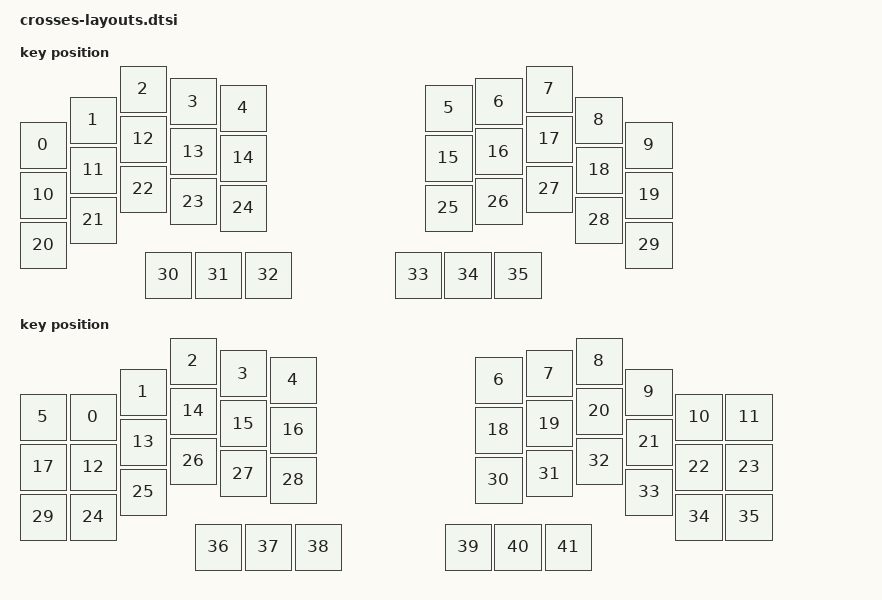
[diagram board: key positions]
#include <physical_layouts.dtsi>

/ {
    physical_layout0: physical_layout_0 {
        compatible = "zmk,physical-layout";
        display-name = "LAYOUT_default";

        kscan = <&kscan0>;
        transform = <&matrix_transform0>;

        keys  //                     w   h    x    y     rot    rx    ry
            = <&key_physical_attrs 100 100    0  112       0     0     0>
            , <&key_physical_attrs 100 100  100   62       0     0     0>
            , <&key_physical_attrs 100 100  200    0       0     0     0>
            , <&key_physical_attrs 100 100  300   25       0     0     0>
            , <&key_physical_attrs 100 100  400   38       0     0     0>
            , <&key_physical_attrs 100 100  812   38       0     0     0>
            , <&key_physical_attrs 100 100  912   25       0     0     0>
            , <&key_physical_attrs 100 100 1012    0       0     0     0>
            , <&key_physical_attrs 100 100 1112   62       0     0     0>
            , <&key_physical_attrs 100 100 1212  112       0     0     0>
            , <&key_physical_attrs 100 100    0  212       0     0     0>
            , <&key_physical_attrs 100 100  100  162       0     0     0>
            , <&key_physical_attrs 100 100  200  100       0     0     0>
            , <&key_physical_attrs 100 100  300  125       0     0     0>
            , <&key_physical_attrs 100 100  400  138       0     0     0>
            , <&key_physical_attrs 100 100  812  138       0     0     0>
            , <&key_physical_attrs 100 100  912  125       0     0     0>
            , <&key_physical_attrs 100 100 1012  100       0     0     0>
            , <&key_physical_attrs 100 100 1113  162       0     0     0>
            , <&key_physical_attrs 100 100 1212  212       0     0     0>
            , <&key_physical_attrs 100 100    0  312       0     0     0>
            , <&key_physical_attrs 100 100  100  262       0     0     0>
            , <&key_physical_attrs 100 100  200  200       0     0     0>
            , <&key_physical_attrs 100 100  300  225       0     0     0>
            , <&key_physical_attrs 100 100  400  238       0     0     0>
            , <&key_physical_attrs 100 100  812  238       0     0     0>
            , <&key_physical_attrs 100 100  912  225       0     0     0>
            , <&key_physical_attrs 100 100 1012  200       0     0     0>
            , <&key_physical_attrs 100 100 1112  262       0     0     0>
            , <&key_physical_attrs 100 100 1212  312       0     0     0>
            , <&key_physical_attrs 100 100  250  372       0     0     0>
            , <&key_physical_attrs 100 100  350  372       0     0     0>
            , <&key_physical_attrs 100 100  450  372       0     0     0>
            , <&key_physical_attrs 100 100  750  372       0     0     0>
            , <&key_physical_attrs 100 100  850  372       0     0     0>
            , <&key_physical_attrs 100 100  950  372       0     0     0>
            ;
    };

    /* 12-column alt physical layout */
    physical_layout6: physical_layout_6 {
        compatible = "zmk,physical-layout";
        display-name = "LAYOUT_3x6_wide";
        keys  //                     w   h     x     y     rot    rx    ry
            = <&key_physical_attrs 100 100     0   112       0     0     0>   // Row 0 L col0
            , <&key_physical_attrs 100 100   100    62       0     0     0>   // Row 0 L col1
            , <&key_physical_attrs 100 100   200     0       0     0     0>   // Row 0 L col2
            , <&key_physical_attrs 100 100   300    25       0     0     0>   // Row 0 L col3
            , <&key_physical_attrs 100 100   400    38       0     0     0>   // Row 0 L col4
            , <&key_physical_attrs 100 100 (-100)  112       0     0     0>   // Row 0 L col5 (new)
            , <&key_physical_attrs 100 100   812    38       0     0     0>   // Row 0 R col6
            , <&key_physical_attrs 100 100   912    25       0     0     0>   // Row 0 R col7
            , <&key_physical_attrs 100 100  1012     0       0     0     0>   // Row 0 R col8
            , <&key_physical_attrs 100 100  1112    62       0     0     0>   // Row 0 R col9
            , <&key_physical_attrs 100 100  1212   112       0     0     0>   // Row 0 R col10
            , <&key_physical_attrs 100 100  1312   112       0     0     0>   // Row 0 R col11 (new)

            , <&key_physical_attrs 100 100     0   212       0     0     0>   // Row 1 L col0
            , <&key_physical_attrs 100 100   100   162       0     0     0>   // Row 1 L col1
            , <&key_physical_attrs 100 100   200   100       0     0     0>   // Row 1 L col2
            , <&key_physical_attrs 100 100   300   125       0     0     0>   // Row 1 L col3
            , <&key_physical_attrs 100 100   400   138       0     0     0>   // Row 1 L col4
            , <&key_physical_attrs 100 100 (-100)  212       0     0     0>   // Row 1 L col5 (new)
            , <&key_physical_attrs 100 100   812   138       0     0     0>   // Row 1 R col6
            , <&key_physical_attrs 100 100   912   125       0     0     0>   // Row 1 R col7
            , <&key_physical_attrs 100 100  1012   100       0     0     0>   // Row 1 R col8
            , <&key_physical_attrs 100 100  1113   162       0     0     0>   // Row 1 R col9
            , <&key_physical_attrs 100 100  1212   212       0     0     0>   // Row 1 R col10
            , <&key_physical_attrs 100 100  1312   212       0     0     0>   // Row 1 R col11 (new)

            , <&key_physical_attrs 100 100     0   312       0     0     0>   // Row 2 L col0
            , <&key_physical_attrs 100 100   100   262       0     0     0>   // Row 2 L col1
            , <&key_physical_attrs 100 100   200   200       0     0     0>   // Row 2 L col2
            , <&key_physical_attrs 100 100   300   225       0     0     0>   // Row 2 L col3
            , <&key_physical_attrs 100 100   400   238       0     0     0>   // Row 2 L col4
            , <&key_physical_attrs 100 100 (-100)  312       0     0     0>   // Row 2 L col5 (new)
            , <&key_physical_attrs 100 100   812   238       0     0     0>   // Row 2 R col6
            , <&key_physical_attrs 100 100   912   225       0     0     0>   // Row 2 R col7
            , <&key_physical_attrs 100 100  1012   200       0     0     0>   // Row 2 R col8
            , <&key_physical_attrs 100 100  1112   262       0     0     0>   // Row 2 R col9
            , <&key_physical_attrs 100 100  1212   312       0     0     0>   // Row 2 R col10
            , <&key_physical_attrs 100 100  1312   312       0     0     0>   // Row 2 R col11 (new)

            , <&key_physical_attrs 100 100   250   372       0     0     0>   // Row 3 L thumb
            , <&key_physical_attrs 100 100   350   372       0     0     0>   // Row 3 L thumb
            , <&key_physical_attrs 100 100   450   372       0     0     0>   // Row 3 L thumb
            , <&key_physical_attrs 100 100   750   372       0     0     0>   // Row 3 R thumb
            , <&key_physical_attrs 100 100   850   372       0     0     0>   // Row 3 R thumb
            , <&key_physical_attrs 100 100   950   372       0     0     0>   // Row 3 R thumb
            ;
    };

    /* Position map to translate bindings between the default (10-col) and wide (12-col) layouts */
    position_map {
        compatible = "zmk,physical-layout-position-map";
        complete;

        default_map: default_map {
            physical-layout = <&physical_layout0>;
            positions = <
                0  1  2  3  4  35   // Row 0 L + extra maps to last default index
                5  6  7  8  9  34   // Row 0 R + extra maps to 34
                10 11 12 13 14 33   // Row 1 L + extra maps to 33
                15 16 17 18 19 32   // Row 1 R + extra maps to 32
                20 21 22 23 24 31   // Row 2 L + extra maps to 31
                25 26 27 28 29 30   // Row 2 R + extra maps to 30
                30 31 32 33 34 35   // Thumbs unchanged
            >;
        };

        wide_map: wide_map {
            physical-layout = <&physical_layout6>;
            positions = <
                0  1  2  3  4  5    // Row 0 L (6 cols)
                6  7  8  9 10 11    // Row 0 R (6 cols)
                12 13 14 15 16 17   // Row 1 L (6 cols)
                18 19 20 21 22 23   // Row 1 R (6 cols)
                24 25 26 27 28 29   // Row 2 L (6 cols)
                30 31 32 33 34 35   // Row 2 R (6 cols)
                36 37 38 39 40 41   // Thumbs unchanged
            >;
        };
    };
};
